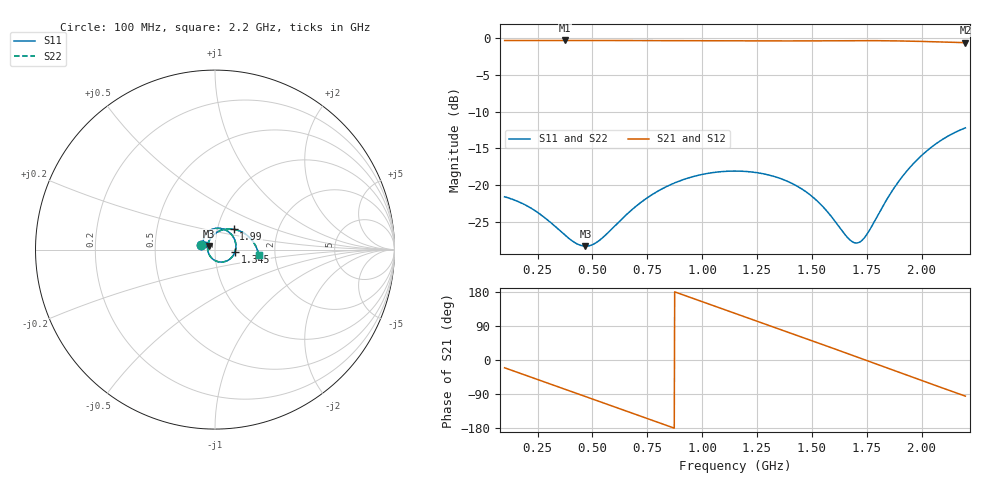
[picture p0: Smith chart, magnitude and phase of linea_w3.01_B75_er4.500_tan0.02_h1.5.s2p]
! Chirptenna · simulación 3D de una microstrip de dos puertos (S12 = S21, S22 = S11 por simetría)
# HZ S RI R 50
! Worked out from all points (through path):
!   1101 points, 100 MHz to 2.2 GHz, reference 50 ohm
!   highest |S21| = -0.31 dB at 376.8 MHz (marker M1); lowest = -0.6 dB at 2.2 GHz (marker M2)
!   group delay of S21, straight-line fit = 575 ps
!   lowest |S11| = -28.3 dB at 468.5 MHz (marker M3), VSWR 1.08, Z = 46.8 + j1.96 ohm
!   |S11| at or under -10 dB: start of sweep to end of sweep
!   |S22| runs from -28.3 to -12.2 dB; largest |S21 - S12| = 0
!   S11 on the Smith chart (normalised r, x): 100 MHz: 0.85, +0.04; 1.345 GHz: 1.25, -0.03; 1.99 GHz: 1.20, +0.28; 2.2 GHz: 1.64, -0.10
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1e8  -0.0797 0.0242  0.9025 -0.3382  0.9025 -0.3382  -0.0797 0.0242
2.508182e8  -0.0508 0.0407  0.5996 -0.7551  0.5996 -0.7551  -0.0508 0.0407
3.768182e8  -0.0325 0.0318  0.2089 -0.9416  0.2089 -0.9416  -0.0325 0.0318
4.512727e8  -0.0314 0.0227  -0.0478 -0.9632  -0.0478 -0.9632  -0.0314 0.0227
4.684545e8  -0.0323 0.0208  -0.1072 -0.9583  -0.1072 -0.9583  -0.0323 0.0208
6.211818e8  -0.0525 0.0203  -0.5914 -0.7603  -0.5914 -0.7603  -0.0525 0.0203
7.147273e8  -0.0639 0.0393  -0.8084 -0.5216  -0.8084 -0.5216  -0.0639 0.0393
8.006364e8  -0.0624 0.0668  -0.9276 -0.2507  -0.9276 -0.2507  -0.0624 0.0668
8.846364e8  -0.0446 0.095  -0.959 0.0364  -0.959 0.0364  -0.0446 0.095
9.686364e8  -0.0108 0.1147  -0.9036 0.3194  -0.9036 0.3194  -0.0108 0.1147
1.054545e9  0.0338 0.1172  -0.7631 0.5781  -0.7631 0.5781  0.0338 0.1172
1.15e9  0.082 0.0938  -0.5241 0.8002  -0.5241 0.8002  0.082 0.0938
1.249273e9  0.1129 0.045  -0.2118 0.9325  -0.2118 0.9325  0.1129 0.045
1.344727e9  0.112 -0.0107  0.1144 0.95  0.1144 0.95  0.112 -0.0107
1.501273e9  0.0485 -0.0682  0.6069 0.7428  0.6069 0.7428  0.0485 -0.0682
1.606273e9  -0.00824 -0.056  0.8416 0.4643  0.8416 0.4643  -0.00824 -0.056
1.703636e9  -0.0395 -0.00832  0.9516 0.1418  0.9516 0.1418  -0.0395 -0.00832
1.749455e9  -0.0407 0.0212  0.9617 -0.0195  0.9617 -0.0195  -0.0407 0.0212
1.850636e9  -0.00669 0.0836  0.8865 -0.3671  0.8865 -0.3671  -0.00669 0.0836
1.99e9  0.104 0.1133  0.5877 -0.7475  0.5877 -0.7475  0.104 0.1133
2.095e9  0.1931 0.0666  0.2638 -0.9036  0.2638 -0.9036  0.1931 0.0666
2.2e9  0.2434 -0.0293  -0.0869 -0.9276  -0.0869 -0.9276  0.2434 -0.0293
